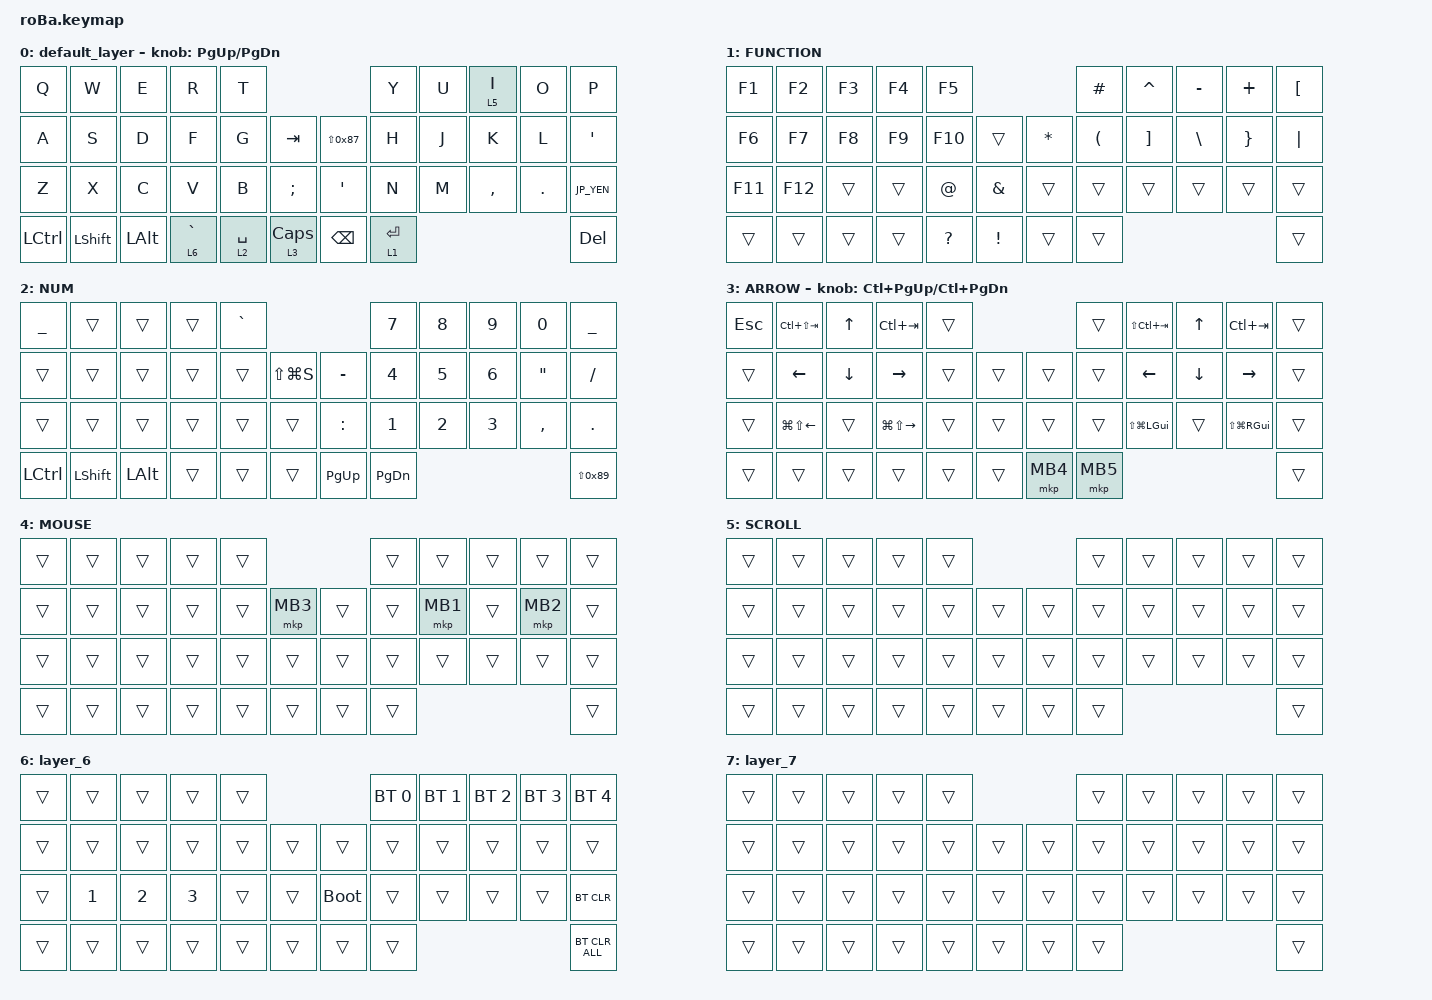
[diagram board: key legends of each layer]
#include <behaviors.dtsi>
#include <dt-bindings/zmk/bt.h>
#include <dt-bindings/zmk/keys.h>
#include <dt-bindings/zmk/pointing.h>

// OS設定を日本語キーボードのまま使用するための変換定義

#define JP_DQUOTE       AT                // "
#define JP_AMPERSAND    CARET             // &
#define JP_QUOTE        AMPERSAND         // '
#define JP_EQUAL        UNDER             // =
#define JP_CARET        EQUAL             // ^
#define JP_YEN          0x89              // ¥
#define JP_PLUS         COLON             // +
#define JP_TILDE        PLUS              // ~
#define JP_PIPE         LS(0x89)          // |
#define JP_AT           LEFT_BRACKET      // @
#define JP_COLON        SINGLE_QUOTE      // :
#define JP_ASTERISK     DOUBLE_QUOTES     // *
#define JP_BACKQUOTE    LEFT_BRACE        // `
#define JP_UNDERSCORE   LS(0x87)          // _
#define JP_LBRACKET     RIGHT_BRACKET     // [
#define JP_RBRACKET     BACKSLASH         // ]
#define JP_LPAREN       ASTERISK          // (
#define JP_RPAREN       LEFT_PARENTHESIS  // )
#define JP_LBRACE       RIGHT_BRACE       // {
#define JP_RBRACE       PIPE              // }
#define JP_KANA         LANGUAGE_1        // かな
#define JP_EISU         LANGUAGE_2        // 英数
#define JP_HANZEN       GRAVE             // 半角/全角

&mt {
    flavor = "balanced";
    quick-tap-ms = <0>;
};

/ {
    combos {
        compatible = "zmk,combos";

        tab {
            bindings = <&kp TAB>;
            key-positions = <11 12>;
        };

        shift_tab {
            bindings = <&kp LS(TAB)>;
            key-positions = <12 13>;
        };

        muhennkann {
            bindings = <&to_layer_0 INT_MUHENKAN>;
            key-positions = <11 10>;
        };

        double_quotation {
            bindings = <&kp DOUBLE_QUOTES>;
            key-positions = <20 21>;
        };

        eq {
            bindings = <&kp EQUAL>;
            key-positions = <24 25>;
        };
    };

    macros {
        to_layer_0: to_layer_0 {
            compatible = "zmk,behavior-macro-one-param";
            #binding-cells = <1>;
            bindings = <&to 0 &macro_param_1to1 &kp MACRO_PLACEHOLDER>;
            label = "TO_LAYER_0";
        };
    };

    behaviors {
        lt_to_layer_0: lt_to_layer_0 {
            compatible = "zmk,behavior-hold-tap";
            label = "LAYER_TAP_TO_0";
            bindings = <&mo>, <&to_layer_0>;

            #binding-cells = <2>;
            tapping-term-ms = <200>;
        };
    };

    keymap {
        compatible = "zmk,keymap";

        default_layer {
            bindings = <
&kp Q      &kp W           &kp E         &kp R            &kp T                                               &kp Y        &kp U  &lt 5 I    &kp O    &kp P
&kp A      &kp S           &kp D         &kp F            &kp G        &kp TAB             &kp JP_UNDERSCORE  &kp H        &kp J  &kp K      &kp L    &kp SQT
&kp Z      &kp X           &kp C         &kp V            &kp B        &kp SEMI            &kp JP_COLON       &kp N        &kp M  &kp COMMA  &kp DOT  &kp JP_YEN
&kp LCTRL  &kp LEFT_SHIFT  &kp LEFT_ALT  &lt 6 JP_HANZEN  &lt 2 SPACE  &lt 3 CAPSLOCK      &kp BACKSPACE      &lt 1 ENTER                             &kp DEL
            >;

            sensor-bindings = <&inc_dec_kp PG_UP PAGE_DOWN>;
        };

        FUNCTION {
            bindings = <
&kp F1   &kp F2   &kp F3  &kp F4  &kp F5                                             &kp HASH       &kp JP_AMPERSAND  &kp MINUS        &kp JP_TILDE   &kp JP_AT
&kp F6   &kp F7   &kp F8  &kp F9  &kp F10        &trans               &kp JP_LPAREN  &kp JP_RPAREN  &kp JP_LBRACKET   &kp JP_RBRACKET  &kp JP_LBRACE  &kp JP_RBRACE
&kp F11  &kp F12  &trans  &trans  &kp JP_DQUOTE  &kp JP_QUOTE         &trans         &trans         &trans            &trans           &trans         &trans
&trans   &trans   &trans  &trans  &kp QUESTION   &kp EXCLAMATION      &trans         &trans                                                           &trans
            >;
        };

        NUM {
            bindings = <
&kp JP_EQUAL  &trans          &trans        &trans  &kp JP_HANZEN                                  &kp NUMBER_7   &kp NUMBER_8  &kp NUMBER_9  &kp NUMBER_0     &kp JP_EQUAL
&trans        &trans          &trans        &trans  &trans         &kp LS(LG(S))      &kp MINUS    &kp NUMBER_4   &kp NUMBER_5  &kp NUMBER_6  &kp JP_ASTERISK  &kp SLASH
&trans        &trans          &trans        &trans  &trans         &trans             &kp JP_PLUS  &kp NUMBER_1   &kp NUMBER_2  &kp NUMBER_3  &kp COMMA        &kp DOT
&kp LCTRL     &kp LEFT_SHIFT  &kp LEFT_ALT  &trans  &trans         &trans             &kp PAGE_UP  &kp PAGE_DOWN                                               &kp JP_PIPE
            >;
        };

        ARROW {
            bindings = <
&kp ESCAPE  &kp LC(LS(TAB))         &kp UP_ARROW    &kp LC(TAB)              &trans                        &trans    &kp LS(LC(TAB))       &kp UP_ARROW    &kp LC(TAB)            &trans
&trans      &kp LEFT_ARROW          &kp DOWN_ARROW  &kp RIGHT_ARROW          &trans  &trans      &trans    &trans    &kp LEFT_ARROW        &kp DOWN_ARROW  &kp RIGHT_ARROW        &trans
&trans      &kp LG(LS(LEFT_ARROW))  &trans          &kp LG(LS(RIGHT_ARROW))  &trans  &trans      &trans    &trans    &kp LS(LG(LEFT_GUI))  &trans          &kp LS(LG(RIGHT_GUI))  &trans
&trans      &trans                  &trans          &trans                   &trans  &trans      &mkp MB4  &mkp MB5                                                               &trans
            >;

            sensor-bindings = <&inc_dec_kp LC(PAGE_UP) LC(PAGE_DOWN)>;
        };

        MOUSE {
            bindings = <
&trans  &trans  &trans  &trans  &trans                        &trans  &trans    &trans  &trans    &trans
&trans  &trans  &trans  &trans  &trans  &mkp MB3      &trans  &trans  &mkp MB1  &trans  &mkp MB2  &trans
&trans  &trans  &trans  &trans  &trans  &trans        &trans  &trans  &trans    &trans  &trans    &trans
&trans  &trans  &trans  &trans  &trans  &trans        &trans  &trans                              &trans
            >;
        };

        SCROLL {
            bindings = <
&trans  &trans  &trans  &trans  &trans                      &trans  &trans  &trans  &trans  &trans
&trans  &trans  &trans  &trans  &trans  &trans      &trans  &trans  &trans  &trans  &trans  &trans
&trans  &trans  &trans  &trans  &trans  &trans      &trans  &trans  &trans  &trans  &trans  &trans
&trans  &trans  &trans  &trans  &trans  &trans      &trans  &trans                          &trans
            >;
        };

        layer_6 {
            bindings = <
&trans  &trans        &trans        &trans        &trans                           &bt BT_SEL 0  &bt BT_SEL 1  &bt BT_SEL 2  &bt BT_SEL 3  &bt BT_SEL 4
&trans  &trans        &trans        &trans        &trans  &trans      &trans       &trans        &trans        &trans        &trans        &trans
&trans  &kp NUMBER_1  &kp NUMBER_2  &kp NUMBER_3  &trans  &trans      &bootloader  &trans        &trans        &trans        &trans        &bt BT_CLR
&trans  &trans        &trans        &trans        &trans  &trans      &trans       &trans                                                  &bt BT_CLR_ALL
            >;
        };

        layer_7 {
            bindings = <
&trans  &trans  &trans  &trans  &trans                      &trans  &trans  &trans  &trans  &trans
&trans  &trans  &trans  &trans  &trans  &trans      &trans  &trans  &trans  &trans  &trans  &trans
&trans  &trans  &trans  &trans  &trans  &trans      &trans  &trans  &trans  &trans  &trans  &trans
&trans  &trans  &trans  &trans  &trans  &trans      &trans  &trans                          &trans
            >;
        };
    };
};
